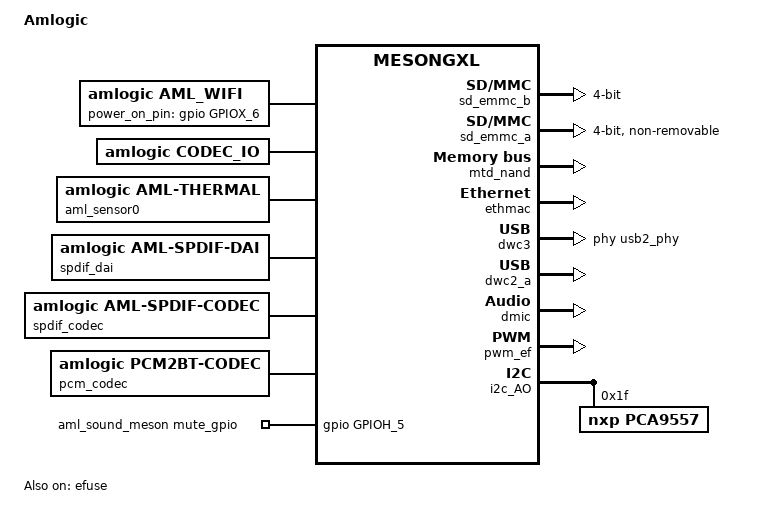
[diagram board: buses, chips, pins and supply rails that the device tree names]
/*
 * arch/arm/boot/dts/amlogic/gxl_p401_2g.dts
 *
 * Copyright (C) 2017 Amlogic, Inc. All rights reserved.
 *
 * This program is free software; you can redistribute it and/or modify
 * it under the terms of the GNU General Public License as published by
 * the Free Software Foundation; either version 2 of the License, or
 * (at your option) any later version.
 *
 * This program is distributed in the hope that it will be useful, but WITHOUT
 * ANY WARRANTY; without even the implied warranty of MERCHANTABILITY or
 * FITNESS FOR A PARTICULAR PURPOSE.  See the GNU General Public License for
 * more details.
 *
 */

/dts-v1/;

#include <dt-bindings/interrupt-controller/arm-gic.h>
#include "mesongxl.dtsi"
/ {
	model = "Amlogic";
	amlogic-dt-id = "gxl_p401_2g";
	compatible = "amlogic, Gxl";
	interrupt-parent = <&gic>;
	#address-cells = <1>;
	#size-cells = <1>;

	aliases {
		serial0 = &uart_AO;
		serial1 = &uart_A;
		serial2 = &uart_B;
		serial3 = &uart_C;
		serial4 = &uart_AO_B;
	};


	memory@00000000 {
		device_type = "memory";
		linux,usable-memory = <0x0100000 0x7ff00000>;
	};

	reserved-memory {
		#address-cells = <1>;
		#size-cells = <1>;
		ranges;
		/* global autoconfigured region for contiguous allocations */
		ramoops@0x07400000 {
			compatible = "ramoops";
			reg = <0x07400000 0x00100000>;
			record-size = <0x8000>;
			console-size = <0x8000>;
			ftrace-size = <0x0>;
			pmsg-size = <0x8000>;
		};

		secmon_reserved:linux,secmon {
			compatible = "shared-dma-pool";
			reusable;
			size = <0x400000>;
			alignment = <0x400000>;
			alloc-ranges = <0x05000000 0x400000>;
		};
		secos_reserved:linux,secos {
			status = "disable";
			compatible = "amlogic, aml_secos_memory";
			reg = <0x05300000 0x2000000>;
			no-map;
		};
		fb_reserved:linux,meson-fb {
			compatible = "shared-dma-pool";
			reusable;
			size = <0x2400000>;
			alignment = <0x400000>;
			alloc-ranges = <0x7dc00000 0x2400000>;
		};
	};

	wifi{
		compatible = "amlogic, aml_wifi";
		dev_name = "aml_wifi";
		status = "okay";
		interrupt_pin = <&gpio       GPIOX_7       GPIO_ACTIVE_HIGH>;
		irq_trigger_type = "GPIO_IRQ_LOW";
		power_on_pin = <&gpio       GPIOX_6       GPIO_ACTIVE_HIGH>;
		pinctrl-names = "default";
		pinctrl-0 = <&wifi_32k_pins>;
		pwm_config = <&wifi_pwm_conf>;
	};

	wifi_pwm_conf:wifi_pwm_conf{
		pwm_channel1_conf {
			pwms = <&pwm_ef MESON_PWM_0 30541 0>;
			duty-cycle = <15270>;
			times = <8>;
		};
		pwm_channel2_conf {
			pwms = <&pwm_ef MESON_PWM_2 30500 0>;
			duty-cycle = <15250>;
			times = <12>;
		};
	};

	sd_emmc_c: emmc@d0074000 {
		status = "disabled";
		compatible = "amlogic, meson-mmc-gxl";
		reg = <0xd0074000 0x2000>;
		interrupts = <0 218 1>;
		pinctrl-names = "emmc_clk_cmd_pins", "emmc_all_pins";
		pinctrl-0 = <&emmc_clk_cmd_pins>;
		pinctrl-1 = <&emmc_conf_pull_up &emmc_conf_pull_done>;
		clocks = <&clkc CLKID_SD_EMMC_C>,
			   <&clkc CLKID_SD_EMMC_C_P0_COMP>,
			   <&clkc CLKID_FCLK_DIV2>;
		clock-names = "core", "clkin0", "clkin1";

		bus-width = <8>;
		cap-sd-highspeed;
		cap-mmc-highspeed;
		mmc-ddr-1_8v;
		mmc-hs200-1_8v;

		max-frequency = <200000000>;
		non-removable;
		disable-wp;
		emmc {
			pinname = "emmc";
			ocr_avail = <0x200080>; /**VDD voltage 3.3 ~ 3.4 */
			caps = "MMC_CAP_8_BIT_DATA",
				 "MMC_CAP_MMC_HIGHSPEED",
				 "MMC_CAP_SD_HIGHSPEED",
				 "MMC_CAP_NONREMOVABLE",
				 "MMC_CAP_1_8V_DDR",
				 "MMC_CAP_HW_RESET",
				 "MMC_CAP_ERASE",
				 "MMC_CAP_CMD23";
			caps2 = "MMC_CAP2_HS200", "MMC_CAP2_HS400";
			f_min = <400000>;
			f_max = <100000000>;
			max_req_size = <0x20000>; /**128KB*/
			gpio_dat3 = <&gpio BOOT_3 GPIO_ACTIVE_HIGH>;
			hw_reset = <&gpio BOOT_9 GPIO_ACTIVE_HIGH>;
			card_type = <1>;
			/* 1:mmc card(include eMMC),
			 * 2:sd card(include tSD)
			 */
		};
	};

	sd_emmc_b:sd@d0072000 {
		status = "okay";
		compatible = "amlogic, meson-mmc-gxl";
		reg = <0xd0072000 0x2000>;
		interrupts = <0 217 1>;
		pinctrl-names = "sd_all_pins",
			"sd_clk_cmd_pins",
			"sd_1bit_pins",
			"sd_clk_cmd_uart_pins",
			"sd_1bit_uart_pins",
			"sd_to_ao_uart_pins",
			"ao_to_sd_uart_pins",
			"ao_to_sd_jtag_pins",
			"sd_to_ao_jtag_pins";
		pinctrl-0 = <&sd_all_pins>;
		pinctrl-1 = <&sd_clk_cmd_pins>;
		pinctrl-2 = <&sd_1bit_pins>;
		pinctrl-3 = <&sd_to_ao_uart_clr_pins
			&sd_clk_cmd_pins &ao_to_sd_uart_pins>;
		pinctrl-4 = <&sd_to_ao_uart_clr_pins
			&sd_1bit_pins &ao_to_sd_uart_pins>;
		pinctrl-5 = <&sd_all_pins &sd_to_ao_uart_pins>;
		pinctrl-6 = <&sd_to_ao_uart_clr_pins &ao_to_sd_uart_pins>;
		pinctrl-7 = <&sd_to_ao_uart_clr_pins &ao_to_sd_uart_pins>;
		pinctrl-8 = <&sd_all_pins &sd_to_ao_uart_pins>;
		clocks = <&clkc CLKID_SD_EMMC_B>,
			   <&clkc CLKID_SD_EMMC_B_P0_COMP>,
			   <&clkc CLKID_FCLK_DIV2>;
		clock-names = "core", "clkin0", "clkin1";

		bus-width = <4>;
		cap-sd-highspeed;
		max-frequency = <100000000>;
		disable-wp;
		sd {
			pinname = "sd";
			ocr_avail = <0x200080>; /**VDD voltage 3.3 ~ 3.4 */
			caps = "MMC_CAP_4_BIT_DATA",
				 "MMC_CAP_MMC_HIGHSPEED",
				 "MMC_CAP_SD_HIGHSPEED";
			/* "MMC_CAP_UHS_SDR12",
			 * "MMC_CAP_UHS_SDR25",
			 * "MMC_CAP_UHS_SDR50",
			 * "MMC_CAP_UHS_SDR104";
			 */
			f_min = <400000>;
			f_max = <100000000>;
			max_req_size = <0x20000>; /**128KB*/
			gpio_dat3 = <&gpio CARD_4 GPIO_ACTIVE_HIGH>;
			jtag_pin = <&gpio CARD_0 GPIO_ACTIVE_HIGH>;
			gpio_cd = <&gpio CARD_6 GPIO_ACTIVE_HIGH>;
			card_type = <5>;
			/* 0:unknown,
			 * 1:mmc card(include eMMC),
			 * 2:sd card(include tSD),
			 * 3:sdio device(ie:sdio-wifi),
			 * 4:SD combo (IO+mem) card,
			 * 5:NON sdio device(means sd/mmc card),
			 * other:reserved
			 */
		};
	};

	sd_emmc_a:sdio@d0070000 {
		status = "okay";
		compatible = "amlogic, meson-mmc-gxl";
		reg = <0xd0070000 0x2000>;
		interrupts = <0 216 4>;
		pinctrl-names = "sdio_clk_cmd_pins", "sdio_all_pins";
		pinctrl-0 = <&sdio_clk_cmd_pins>;
		pinctrl-1 = <&sdio_all_pins>;
		clocks = <&clkc CLKID_SD_EMMC_A>,
			   <&clkc CLKID_SD_EMMC_A_P0_COMP>,
			   <&clkc CLKID_FCLK_DIV2>;
		clock-names = "core", "clkin0", "clkin1";

		bus-width = <4>;
		cap-sd-highspeed;
		cap-mmc-highspeed;
		max-frequency = <100000000>;
		non-removable;
		disable-wp;
		sdio {
			pinname = "sdio";
			ocr_avail = <0x200080>; /**VDD voltage 3.3 ~ 3.4 */
			caps = "MMC_CAP_4_BIT_DATA",
				 "MMC_CAP_MMC_HIGHSPEED",
				 "MMC_CAP_SD_HIGHSPEED",
				 "MMC_CAP_NONREMOVABLE",
				 "MMC_CAP_UHS_SDR12",
				 "MMC_CAP_UHS_SDR25",
				 "MMC_CAP_UHS_SDR50",
				 "MMC_CAP_UHS_SDR104",
				 "MMC_PM_KEEP_POWER",
				 "MMC_CAP_SDIO_IRQ";
			f_min = <400000>;
			f_max = <200000000>;
			max_req_size = <0x20000>; /**128KB*/
			card_type = <3>;
			/* 3:sdio device(ie:sdio-wifi),
			 * 4:SD combo (IO+mem) card
			 */
		};
	};
	mtd_nand{
		compatible = "amlogic, aml_mtd_nand";
		dev_name = "mtdnand";
		status = "okay";
		reg = <0xd0074800 0x200>;
		interrupts = <	0 34 1 >;
		pinctrl-names = "nand_rb_mod","nand_norb_mod", "nand_cs_only";
		pinctrl-0 = <&all_nand_pins>;
		pinctrl-1 = <&all_nand_pins>;
		pinctrl-2 = <&nand_cs_pins>;
		device_id = <0>;

		/*fip/tpl configurations, must be same
		 * with uboot if bl_mode was set as 1
		 * bl_mode: 0 compact mode; 1 descrete mode
		 * if bl_mode was set as 1, fip configeration will work
		 */
		bl_mode = <1>;
		/*copy count of fip*/
		fip_copies = <4>;
		/*size of each fip copy */
		fip_size = <0x200000>;
		nand_clk_ctrl = <0xd0074000>;
		plat-names = "bootloader","nandnormal";
		plat-num = <2>;
		plat-part-0 = <&bootloader>;
		plat-part-1 = <&nandnormal>;
		bootloader: bootloader{
			enable_pad ="ce0";
			busy_pad = "rb0";
			timming_mode = "mode5";
			bch_mode = "bch60_1k";
			t_rea = <20>;
			t_rhoh = <15>;
			chip_num = <1>;
			part_num = <0>;
			rb_detect = <1>;
		};
		nandnormal: nandnormal{
			enable_pad ="ce0","ce1";
			busy_pad = "rb0","rb1";
			timming_mode = "mode5";
			bch_mode = "bch60_1k";
			plane_mode = "twoplane";
			t_rea = <20>;
			t_rhoh = <15>;
			chip_num = <2>;
			part_num = <3>;
			partition = <&nand_partitions>;
			rb_detect = <1>;
		};
		nand_partitions:nand_partition{

			/*
			 * if bl_mode is 1, tpl size was generate by
			 * fip_copies * fip_size which
			 * will not skip bad when calculating
			 * the partition size;
			 *
			 * if bl_mode is 0,
			 * tpl partition must be comment out.
			 */
			tpl{
				offset=<0x0 0x0>;
				size=<0x0 0x0>;
			};
			logo{
				offset=<0x0 0x0>;
				size=<0x0 0x200000>;
			};
			recovery{
				offset=<0x0 0x0>;
				size=<0x0 0x1000000>;
			};
			boot{
				offset=<0x0 0x0>;
				size=<0x0 0x1000000>;
			};
			system{
				offset=<0x0 0x0>;
				size=<0x0 0xDC00000>;
			};
			data{
				offset=<0xffffffff 0xffffffff>;
				size=<0x0 0x0>;
			};
		};
	};

	ethmac: ethernet@0xc9410000 {
			compatible = "amlogic, gxbb-eth-dwmac";
			reg = <0xc9410000 0x10000
			0xc8834540 0x8
			0xc8834558 0xc>;
			interrupts = <0 8 1>;
			pinctrl-names = "external_eth_pins";
			pinctrl-0 = <&external_eth_pins>;
			rst_pin-gpios = <&gpio GPIOZ_14 0>;
			GPIOZ4_pin-gpios = <&gpio GPIOZ_4 0>;
			GPIOZ5_pin-gpios = <&gpio GPIOZ_5 0>;
			mc_val_internal_phy = <0x1800>;
			mc_val_external_phy = <0x1621>;
			cali_val = <0x20000>;
			interrupt-names = "macirq";
			clocks = <&clkc CLKID_ETH>;
			clock-names = "ethclk81";
			internal_phy=<1>;
	};

	codec_io {
		compatible = "amlogic, codec_io";
		#address-cells=<1>;
		#size-cells=<1>;
		ranges;
		io_cbus_base{
			reg = <0xC1100000 0x100000>;
		};
		io_dos_base{
			reg = <0xc8820000 0x10000>;
		};
		io_hiubus_base{
			reg = <0xc883c000 0x2000>;
		};
		io_aobus_base{
			reg = <0xc8100000 0x100000>;
		};
		io_vcbus_base{
			reg = <0xd0100000 0x40000>;
		};
		io_dmc_base{
			reg = <0xc8838000 0x400>;
		};
	};

	aml_sensor0: aml-sensor@0 {
		compatible = "amlogic, aml-thermal";
		device_name = "thermal";
		#thermal-sensor-cells = <1>;
		cooling_devices {
			cpufreq_cool_cluster0 {
				min_state = <1000000>;
				dyn_coeff = <140>;
				cluster_id = <0>;
				node_name = "cpufreq_cool0";
				device_type = "cpufreq";
			};
			cpucore_cool_cluster0 {
				min_state = <1>;
				dyn_coeff = <0>;
				cluster_id = <0>;
				node_name = "cpucore_cool0";
				device_type = "cpucore";
			};
			gpufreq_cool {
				min_state = <400>;
				dyn_coeff = <437>;
				cluster_id = <0>;
				node_name = "gpufreq_cool0";
				device_type = "gpufreq";
			};
			gpucore_cool {
				min_state = <1>;
				dyn_coeff = <0>;
				cluster_id = <0>;
				node_name = "gpucore_cool0";
				device_type = "gpucore";
			};
		};
		cpufreq_cool0:cpufreq_cool0 {
			#cooling-cells = <2>; /* min followed by max */
		};
		cpucore_cool0:cpucore_cool0 {
			#cooling-cells = <2>; /* min followed by max */
		};
		gpufreq_cool0:gpufreq_cool0 {
			#cooling-cells = <2>; /* min followed by max */
		};
		gpucore_cool0:gpucore_cool0 {
			#cooling-cells = <2>; /* min followed by max */
		};
	};
	thermal-zones {
		soc_thermal {
			polling-delay = <1000>;
			polling-delay-passive = <100>;
			sustainable-power = <2150>;

			thermal-sensors = <&aml_sensor0 3>;

			trips {
				switch_on: trip-point@0 {
					temperature = <70000>;
					hysteresis = <1000>;
					type = "passive";
				};
				control: trip-point@1 {
					temperature = <80000>;
					hysteresis = <1000>;
					type = "passive";
				};
				hot: trip-point@2 {
					temperature = <85000>;
					hysteresis = <5000>;
					type = "hot";
				};
				critical: trip-point@3 {
					temperature = <260000>;
					hysteresis = <1000>;
					type = "critical";
				};
			};

			cooling-maps {
				cpufreq_cooling_map {
					trip = <&control>;
					cooling-device = <&cpufreq_cool0 0 4>;
					contribution = <1024>;
				};
				cpucore_cooling_map {
					trip = <&control>;
					cooling-device = <&cpucore_cool0 0 3>;
					contribution = <1024>;
				};
				gpufreq_cooling_map {
					trip = <&control>;
					cooling-device = <&gpufreq_cool0 0 4>;
					contribution = <1024>;
				};
				gpucore_cooling_map {
					trip = <&control>;
					cooling-device = <&gpucore_cool0 0 2>;
					contribution = <1024>;
				};
			};
		};
	};

	dwc3: dwc3@c9000000 {
		compatible = "synopsys, dwc3";
		reg = <0xc9000000 0x100000>;
		interrupts = <0 30 4>;
		usb-phy = <&usb2_phy>, <&usb3_phy>;
		cpu-type = "gxl";
		clock-src = "usb3.0";
	};

	usb2_phy: usb2phy@d0078000 {
		compatible = "amlogic, amlogic-new-usb2";
		portnum = <3>;
		reg = <0xd0078000 0x80
					0xc1104408 0x4>;
	};

	usb3_phy: usb3phy@d0078080 {
		compatible = "amlogic, amlogic-new-usb3";
		portnum = <0>;
		reg = <0xd0078080 0x20>;
		interrupts = <0 16 4>;
		otg = <1>;
		gpio-vbus-power = "GPIOAO_5";
		gpios = <&gpio_ao GPIOAO_5 GPIO_ACTIVE_HIGH>;
	};

	dwc2_a {
		compatible = "amlogic, dwc2";
		device_name = "dwc2_a";
		reg = <0xc9100000 0x40000>;
		status = "okay";
		interrupts = <0 31 4>;
		pl-periph-id = <0>; /** lm name */
		clock-src = "usb0"; /** clock src */
		port-id = <0>;  /** ref to mach/usb.h */
		port-type = <2>;        /** 0: otg, 1: host, 2: slave */
		port-speed = <0>; /** 0: default, high, 1: full */
		port-config = <0>; /** 0: default */
		port-dma = <0>; /** 0: default ... 6: disable*/
		port-id-mode = <0>; /** 0: hardware, 1: sw_host, 2: sw_slave*/
		usb-fifo = <728>;
		cpu-type = "gxl";
		controller-type = <3>; /** 0: normal,1:host,2:device,3:otg*/
		phy-reg = <0xd0078000>;
		phy-reg-size = <0xa0>;
		clocks = <&clkc CLKID_USB_GENERAL
			&clkc CLKID_USB1_TO_DDR
			&clkc CLKID_USB1>;
		clock-names = "usb_general",
			"usb1",
			"usb1_to_ddr";
		};

	meson-amvideom {
		compatible = "amlogic, amvideom";
		dev_name = "amvideom";
		status = "okay";
		interrupts = <0 3 1>;
		interrupt-names = "vsync";
	};

	vout {
		compatible = "amlogic, vout";
		dev_name = "vout";
		status = "okay";
		fr_auto_policy = <0>;
	};

	meson-fb {
		compatible = "amlogic, meson-gxl";
		memory-region = <&fb_reserved>;
		dev_name = "meson-fb";
		status = "okay";
		interrupts = <0 3 1
			0 89 1>;
		interrupt-names = "viu-vsync", "rdma";
		mem_size = <0x00800000 0x01800000 0x00100000>;
		/* uboot logo,fb0/fb1 memory size,if afbcd fb0=0x01851000 */
		display_mode_default = "1080p60hz";
		scale_mode = <1>;
		/** 0:VPU free scale 1:OSD free scale 2:OSD super scale */
		display_size_default = <1920 1080 1920 3240 32>;
		/*1920*1080*4*3 = 0x17BB000*/
		mem_alloc = <1>;
		logo_addr = "0x7dc00000";
	};

	ge2d {
		compatible = "amlogic, ge2d-gxl";
		dev_name = "ge2d";
		status = "okay";
		interrupts = <0 150 1>;
		interrupt-names = "ge2d";
		clocks = <&clkc CLKID_VAPB_MUX>,
			<&clkc CLKID_G2D>,
			<&clkc CLKID_GE2D_GATE>;
		clock-names = "clk_vapb_0",
			"clk_ge2d",
			"clk_ge2d_gate";
	};

	/* AUDIO MESON DEVICES */
	i2s_dai: I2S {
		#sound-dai-cells = <0>;
		compatible = "amlogic, aml-i2s-dai";
		clocks =
			<&clkc CLKID_MPLL2>,
			<&clkc CLKID_AMCLK_COMP>,
			<&clkc CLKID_AIU_GLUE>,
			<&clkc CLKID_IEC958>,
			<&clkc CLKID_I2S_OUT>,
			<&clkc CLKID_AMCLK>,
			<&clkc CLKID_AIFIFO2>,
			<&clkc CLKID_MIXER>,
			<&clkc CLKID_MIXER_IFACE>,
			<&clkc CLKID_ADC>,
			<&clkc CLKID_AIU_TOP>,
			<&clkc CLKID_AOCLK_GATE>,
			<&clkc CLKID_I2S_SPDIF>;
		clock-names =
			"mpll",
			"mclk",
			"top_glue",
			"aud_buf",
			"i2s_out",
			"amclk_measure",
			"aififo2",
			"aud_mixer",
			"mixer_reg",
			"adc",
			"top_level",
			"aoclk",
			"aud_in";
		i2s_pos_sync = <1>;
		/*DMIC;*/  /* I2s Mic or Dmic, default for I2S mic */
	};
	dmic:snd_dmic {
		#sound-dai-cells = <0>;
		compatible = "aml, aml_snd_dmic";
		reg = <0xd0042000 0x2000>;
		status = "okay";
		resets = <
			&clkc CLKID_PDM_GATE
		>;
		reset-names =	"pdm";
		pinctrl-names = "audio_dmic";
		pinctrl-0 = <&aml_dmic_pins>;
		clocks = <&clkc CLKID_PDM_COMP>,
			<&clkc CLKID_AMCLK_COMP>;
		clock-names = "pdm", "mclk";
	};
	spdif_dai: SPDIF {
		#sound-dai-cells = <0>;
		compatible = "amlogic, aml-spdif-dai";
		clocks =
			<&clkc CLKID_MPLL1>,
			<&clkc CLKID_I958_COMP>,
			<&clkc CLKID_AMCLK_COMP>,
			<&clkc CLKID_I958_COMP_SPDIF>,
			<&clkc CLKID_CLK81>,
			<&clkc CLKID_IEC958>,
			<&clkc CLKID_IEC958_GATE>;
		clock-names =
			"mpll1",
			"i958",
			"mclk",
			"spdif",
			"clk_81",
			"iec958",
			"iec958_amclk";
	};
	pcm_dai: PCM {
		#sound-dai-cells = <0>;
		compatible = "amlogic, aml-pcm-dai";
		pinctrl-names = "audio_pcm";
		pinctrl-0 = <&audio_pcm_pins>;
		clocks =
			<&clkc CLKID_MPLL0>,
			<&clkc CLKID_PCM_MCLK_COMP>,
			<&clkc CLKID_PCM_SCLK_GATE>;
		clock-names =
			"mpll0",
			"pcm_mclk",
			"pcm_sclk";
		pcm_mode = <1>; /* 0=slave mode, 1=master mode */
	};
	i2s_plat: i2s_platform {
		compatible = "amlogic, aml-i2s";
		interrupts = <0 29 1>;
	};
	pcm_plat: pcm_platform {
		compatible = "amlogic, aml-pcm";
	};
	spdif_codec: spdif_codec{
		#sound-dai-cells = <0>;
		compatible = "amlogic, aml-spdif-codec";
		pinctrl-names = "audio_spdif";
		pinctrl-0 = <&audio_spdif_pins>;
	};
	pcm_codec: pcm_codec{
		#sound-dai-cells = <0>;
		compatible = "amlogic, pcm2BT-codec";
	};
	/* endof AUDIO MESON DEVICES */

	/* AUDIO board specific */
	dummy_codec:dummy{
		#sound-dai-cells = <0>;
		compatible = "amlogic, aml_dummy_codec";
		status = "okay";
	};
	amlogic_codec:t9015{
		#sound-dai-cells = <0>;
		compatible = "amlogic, aml_codec_T9015";
		reg = <0xc8832000 0x14>;
		status = "disable";
	};
	aml_sound_meson {
		compatible = "aml, meson-snd-card";
		status = "okay";
		aml-sound-card,format = "i2s";
		aml_sound_card,name = "AML-MESONAUDIO";
		aml,audio-routing =
				"Ext Spk","LOUTL",
				"Ext Spk","LOUTR";

		mute_gpio-gpios = <&gpio GPIOH_5 0>;
		mute_inv;
		hp_disable;
		hp_paraments = <800 300 0 5 1>;
		pinctrl-names = "audio_i2s";
		pinctrl-0 = <&audio_i2s_pins>;
		cpu_list = <&cpudai0 &cpudai1 &cpudai2>;
		codec_list = <&codec0 &codec1 &codec2>;
		plat_list = <&i2s_plat &i2s_plat &pcm_plat>;
		cpudai0: cpudai0 {
			sound-dai = <&i2s_dai>;
		};
		cpudai1: cpudai1 {
			sound-dai = <&spdif_dai>;
		};
		cpudai2: cpudai2 {
			sound-dai = <&pcm_dai>;
		};
		codec0: codec0 {
			sound-dai = <&dummy_codec>;
		};
		codec1: codec1 {
			sound-dai = <&spdif_codec>;
		};
		codec2: codec2 {
			sound-dai = <&pcm_codec>;
		};
	};
	/* END OF AUDIO board specific */
	rdma{
		compatible = "amlogic, meson, rdma";
		dev_name = "amlogic-rdma";
		status = "ok";
		interrupts = <0 89 1>;
		interrupt-names = "rdma";
	};

	partitions: partitions{
		parts = <11>;
		part-0 = <&logo>;
		part-1 = <&recovery>;
		part-2 = <&rsv>;
		part-3 = <&tee>;
		part-4 = <&crypt>;
		part-5 = <&misc>;
		part-6 = <&instaboot>;
		part-7 = <&boot>;
		part-8 = <&system>;
		part-9 = <&cache>;
		part-10 = <&data>;

		logo:logo{
			pname = "logo";
			size = <0x0 0x2000000>;
			mask = <1>;
		};
		recovery:recovery{
			pname = "recovery";
			size = <0x0 0x2000000>;
			mask = <1>;
		};
		rsv:rsv{
			pname = "rsv";
			size = <0x0 0x800000>;
			mask = <1>;
		};
		tee:tee{
			pname = "tee";
			size = <0x0 0x800000>;
			mask = <1>;
		};
		crypt:crypt{
			pname = "crypt";
			size = <0x0 0x2000000>;
			mask = <1>;
		};
		misc:misc{
			pname = "misc";
			size = <0x0 0x2000000>;
			mask = <1>;
		};
		instaboot:instaboot{
			pname = "instaboot";
			size = <0x0 0x400000>;
			mask = <1>;
		};
		boot:boot
		{
			pname = "boot";
			size = <0x0 0x2000000>;
			mask = <1>;
		};
		system:system
		{
			pname = "system";
			size = <0x0 0x80000000>;
			mask = <1>;
		};
		cache:cache
		{
			pname = "cache";
			size = <0x0 0x20000000>;
			mask = <2>;
		};
		data:data
		{
			pname = "data";
			size = <0xffffffff 0xffffffff>;
			mask = <4>;
		};
	};

	unifykey{
		compatible = "amlogic, unifykey";
		status = "ok";

		unifykey-num = <15>;
		unifykey-index-0 = <&keysn_0>;
		unifykey-index-1 = <&keysn_1>;
		unifykey-index-2 = <&keysn_2>;
		unifykey-index-3 = <&keysn_3>;
		unifykey-index-4 = <&keysn_4>;
		unifykey-index-5 = <&keysn_5>;
		unifykey-index-6 = <&keysn_6>;
		unifykey-index-7 = <&keysn_7>;
		unifykey-index-8 = <&keysn_8>;
		unifykey-index-9 = <&keysn_9>;
		unifykey-index-10= <&keysn_10>;
		unifykey-index-11= <&keysn_11>;
		unifykey-index-12= <&keysn_12>;
		unifykey-index-13= <&keysn_13>;
		unifykey-index-14= <&keysn_14>;

		keysn_0: key_0{
			key-name = "usid";
			key-device = "normal";
			key-permit = "read","write","del";
		};
		keysn_1:key_1{
			key-name = "mac";
			key-device = "normal";
			key-permit = "read","write","del";
		};
		keysn_2:key_2{
			key-name = "hdcp";
			key-device = "secure";
			key-type = "sha1";
			key-permit = "read","write","del";
		};
		keysn_3:key_3{
			key-name = "secure_boot_set";
			key-device = "efuse";
			key-permit = "write";
		};
		keysn_4:key_4{
			key-name = "mac_bt";
			key-device = "normal";
			key-permit = "read","write","del";
			key-type  = "mac";
		};
		keysn_5:key_5{
			key-name = "mac_wifi";
			key-device = "normal";
			key-permit = "read","write","del";
			key-type = "mac";
		};
		keysn_6:key_6{
			key-name = "hdcp2_tx";
			key-device = "normal";
			key-permit = "read","write","del";
		};
		keysn_7:key_7{
			key-name = "hdcp2_rx";
			key-device = "normal";
			key-permit = "read","write","del";
		};
		keysn_8:key_8{
			key-name = "widevinekeybox";
			key-device = "secure";
			key-permit = "read","write","del";
		};
		keysn_9:key_9{
			key-name = "deviceid";
			key-device = "normal";
			key-permit = "read","write","del";
		};
		keysn_10:key_10{
			key-name = "hdcp22_fw_private";
			key-device = "secure";
			key-permit = "read","write","del";
		};
		keysn_11:key_11{
			key-name = "PlayReadykeybox25";
			key-device = "secure";
			key-permit = "read","write","del";
		};
		keysn_12:key_12{
			key-name = "prpubkeybox";// PlayReady
			key-device = "secure";
			key-permit = "read","write","del";
		};
		keysn_13:key_13{
			key-name = "prprivkeybox";// PlayReady
			key-device = "secure";
			key-permit = "read","write","del";
		};
		keysn_14:key_14{
			key-name = "attestationkeybox";// attestation key
			key-device = "secure";
			key-permit = "read","write","del";
		};
	};//End unifykey
};

&efuse {
	status = "ok";
};

&pwm_ef {
	status = "okay";
};

&audio_i2s_pins {
	mux {
		groups = "i2s_am_clk",
		"i2s_ao_clk_out",
		"i2s_lr_clk_out",
		"i2sout_ch01",
		"i2sin_ch23",
		"i2sin_ch45",
		"i2sin_ch67";
		function = "i2s";
	};
};

&i2c_AO {
	status = "okay";
	pca9557:pca9557@0x1f{
		compatible = "nxp,pca9557";
		reg = <0x1f>;
		status = "okay";
	};
};

